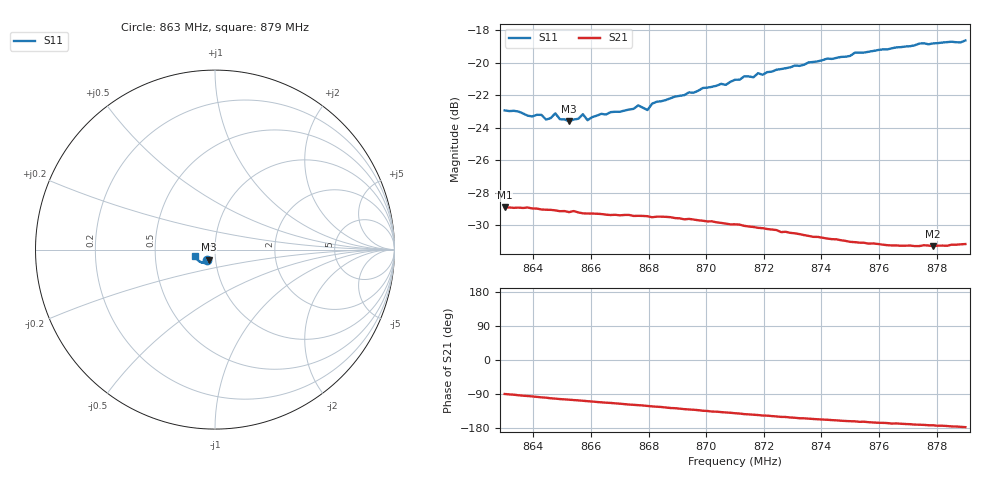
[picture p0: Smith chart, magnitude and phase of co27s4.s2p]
# HZ S RI R 50
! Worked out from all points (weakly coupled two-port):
!   101 points, 863 MHz to 879 MHz, reference 50 ohm
!   highest |S21| = -28.89 dB at 863 MHz (marker M1); lowest = -31.3 dB at 877.88 MHz (marker M2)
!   lowest |S11| = -23.6 dB at 865.24 MHz (marker M3), VSWR 1.14, Z = 46.2 - j5.15 ohm
!   |S11| at or under -10 dB: start of sweep to end of sweep
!   S12 and S22 are empty: the file has one direction only
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8.63e8  -0.0442 -0.0561  0.000226 -0.0359  0 0  0 0
8.6396e8  -0.0408 -0.055  -0.00385 -0.0355  0 0  0 0
8.6428e8  -0.0403 -0.0563  -0.0053 -0.035  0 0  0 0
8.6444e8  -0.0393 -0.0542  -0.00579 -0.0349  0 0  0 0
8.6476e8  -0.0414 -0.0564  -0.00726 -0.0344  0 0  0 0
8.6492e8  -0.0369 -0.0561  -0.00791 -0.0341  0 0  0 0
8.6524e8  -0.0361 -0.0555  -0.00882 -0.0336  0 0  0 0
8.6572e8  -0.0366 -0.0591  -0.0104 -0.0329  0 0  0 0
8.6588e8  -0.0353 -0.0565  -0.011 -0.0326  0 0  0 0
8.6636e8  -0.0385 -0.0582  -0.0127 -0.0319  0 0  0 0
8.6748e8  -0.0346 -0.0634  -0.0161 -0.0298  0 0  0 0
8.6764e8  -0.0368 -0.0643  -0.0165 -0.0296  0 0  0 0
8.6796e8  -0.0345 -0.0628  -0.0175 -0.0289  0 0  0 0
8.6812e8  -0.0368 -0.0652  -0.018 -0.0283  0 0  0 0
8.6844e8  -0.0377 -0.0663  -0.0188 -0.0279  0 0  0 0
8.6988e8  -0.043 -0.0719  -0.0227 -0.0235  0 0  0 0
8.7068e8  -0.0459 -0.0723  -0.024 -0.0213  0 0  0 0
8.71e8  -0.0491 -0.074  -0.0246 -0.0203  0 0  0 0
8.7372e8  -0.0687 -0.0736  -0.0266 -0.012  0 0  0 0
8.7644e8  -0.0928 -0.0607  -0.0268 -0.00582  0 0  0 0
8.7788e8  -0.1038 -0.0492  -0.0271 -0.00368  0 0  0 0
8.79e8  -0.1108 -0.0384  -0.0277 -0.00135  0 0  0 0
